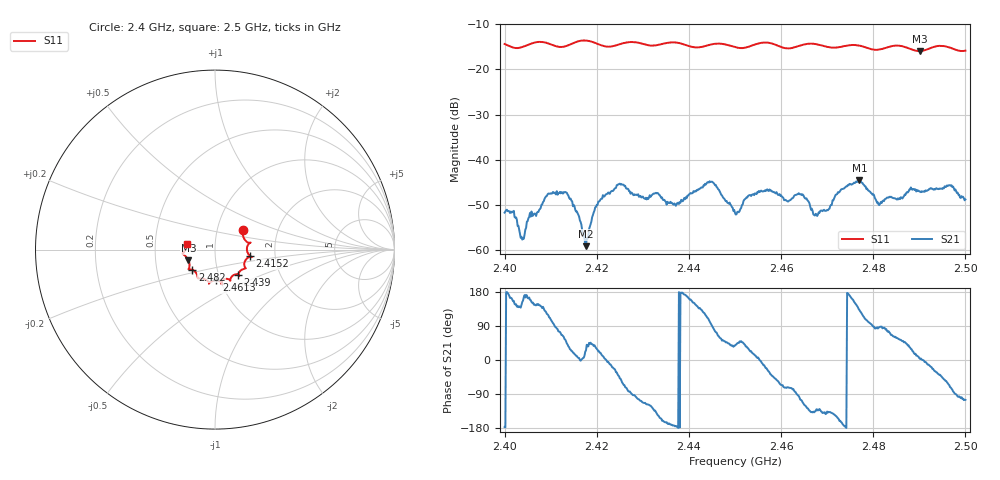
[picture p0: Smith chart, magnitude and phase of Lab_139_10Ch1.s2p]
# Hz S RI R 50
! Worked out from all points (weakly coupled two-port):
!   601 points, 2.4 GHz to 2.5 GHz, reference 50 ohm
!   highest |S21| = -44.64 dB at 2.477 GHz (marker M1); lowest = -59.2 dB at 2.4177 GHz (marker M2)
!   lowest |S11| = -15.9 dB at 2.4902 GHz (marker M3), VSWR 1.38, Z = 36.9 - j4.58 ohm
!   |S11| at or under -10 dB: start of sweep to end of sweep
!   S12 and S22 are empty: the file has one direction only
!   S11 on the Smith chart (normalised r, x): 2.4 GHz: 1.33, +0.31; 2.4152 GHz: 1.48, -0.11; 2.439 GHz: 1.24, -0.36; 2.4613 GHz: 0.96, -0.34; 2.482 GHz: 0.76, -0.17; 2.5 GHz: 0.73, +0.05
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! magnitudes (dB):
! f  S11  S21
! 2.4 GHz  -14.4  -51.8
! 2.4038 GHz  -15.0  -57.8
! 2.4095 GHz  -14.2  -47.5
! 2.4152 GHz  -14.1  -50.4
! 2.4167 GHz  -13.6  -54.4
! 2.4177 GHz  -13.6  -59.2
! 2.4202 GHz  -14.3  -50.1
! 2.4248 GHz  -14.4  -45.4
! 2.4333 GHz  -14.5  -47.5
! 2.439 GHz  -14.5  -48.5
! 2.445 GHz  -14.4  -44.9
! 2.45 GHz  -15.0  -51.8
! 2.4553 GHz  -14.2  -47.2
! 2.4613 GHz  -15.3  -49.2
! 2.4643 GHz  -14.6  -47.7
! 2.4667 GHz  -14.3  -50.9
! 2.477 GHz  -14.7  -44.6
! 2.482 GHz  -15.4  -49.2
! 2.4833 GHz  -15.0  -48.4
! 2.4902 GHz  -15.9  -47.1
! 2.4965 GHz  -15.1  -45.7
! 2.5 GHz  -15.8  -48.8
